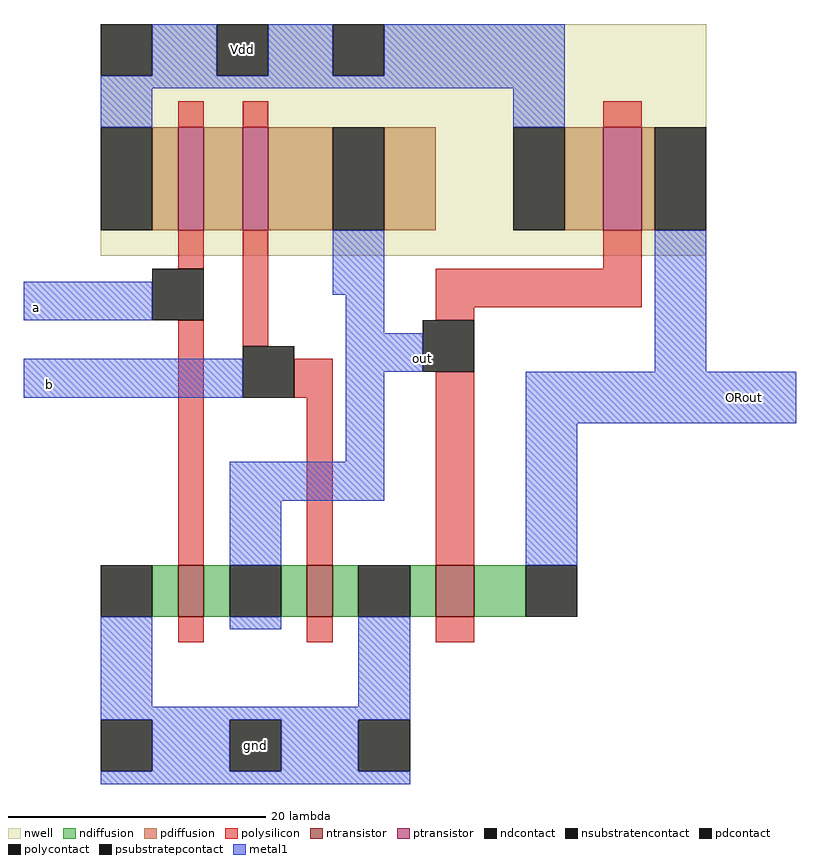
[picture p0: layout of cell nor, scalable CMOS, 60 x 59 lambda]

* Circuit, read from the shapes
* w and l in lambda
.subckt nor ORout Vdd a b gnd out
M1 out a gnd gnd nfet w=4 l=2
M2 gnd b out gnd nfet w=4 l=2
M3 ORout out gnd gnd nfet w=4 l=3
M4 n1 a Vdd Vdd pfet w=8 l=2
M5 out b n1 Vdd pfet w=8 l=2
M6 ORout out Vdd Vdd pfet w=8 l=3
.ends

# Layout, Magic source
magic
tech scmos
<< nwell >>
rect -11 3 36 21
<< polysilicon >>
rect -5 13 -3 15
rect 0 13 2 15
rect 28 13 31 15
rect -5 2 -3 5
rect -5 -21 -3 -2
rect 0 -4 2 5
rect 28 2 31 5
rect 15 -1 31 2
rect 15 -2 18 -1
rect 4 -8 7 -5
rect 5 -21 7 -8
rect 15 -21 18 -6
rect -5 -27 -3 -25
rect 5 -27 7 -25
rect 15 -27 18 -25
<< ndiffusion >>
rect -7 -25 -5 -21
rect -3 -25 -1 -21
rect 3 -25 5 -21
rect 7 -25 9 -21
rect 13 -25 15 -21
rect 18 -25 22 -21
<< pdiffusion >>
rect -7 5 -5 13
rect -3 5 0 13
rect 2 5 7 13
rect 11 5 15 13
rect 25 5 28 13
rect 31 5 32 13
<< metal1 >>
rect -7 17 -2 21
rect 2 17 7 21
rect 11 17 25 21
rect -11 16 25 17
rect -11 13 -7 16
rect 21 13 25 16
rect -17 -2 -7 1
rect 7 0 11 5
rect 8 -3 11 0
rect -17 -8 0 -5
rect 8 -6 14 -3
rect 32 -6 36 5
rect 8 -13 11 -6
rect -1 -16 11 -13
rect 22 -10 43 -6
rect -1 -21 3 -16
rect 22 -21 26 -10
rect -11 -32 -7 -25
rect -1 -26 3 -25
rect 9 -32 13 -25
rect -11 -33 13 -32
rect -7 -37 -1 -33
rect 3 -37 9 -33
rect -11 -38 13 -37
<< ntransistor >>
rect -5 -25 -3 -21
rect 5 -25 7 -21
rect 15 -25 18 -21
<< ptransistor >>
rect -5 5 -3 13
rect 0 5 2 13
rect 28 5 31 13
<< polycontact >>
rect -7 -2 -3 2
rect 0 -8 4 -4
rect 14 -6 18 -2
<< ndcontact >>
rect -11 -25 -7 -21
rect -1 -25 3 -21
rect 9 -25 13 -21
rect 22 -25 26 -21
<< pdcontact >>
rect -11 5 -7 13
rect 7 5 11 13
rect 21 5 25 13
rect 32 5 36 13
<< psubstratepcontact >>
rect -11 -37 -7 -33
rect -1 -37 3 -33
rect 9 -37 13 -33
<< nsubstratencontact >>
rect -11 17 -7 21
rect -2 17 2 21
rect 7 17 11 21
<< labels >>
rlabel nsubstratencontact 0 19 0 19 5 Vdd
rlabel metal1 -16 -1 -16 -1 3 a
rlabel metal1 -15 -7 -15 -7 3 b
rlabel psubstratepcontact 1 -35 1 -35 1 gnd
rlabel metal1 14 -5 14 -5 7 out
rlabel metal1 39 -8 39 -8 7 ORout
<< end >>
